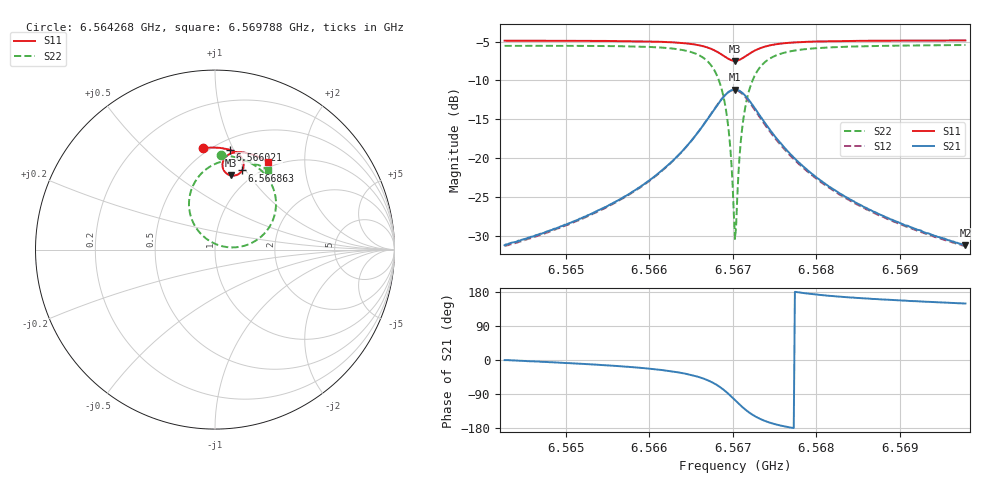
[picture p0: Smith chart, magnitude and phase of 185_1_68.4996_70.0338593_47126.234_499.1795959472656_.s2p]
#  HZ  S  RI  R  50.00
! Rohde & Schwarz Vector Network Analyzer
! Rohde-Schwarz,ZNB20-2Port,1311601062101988,3.16
! Created: UTC 3/20/2024, 4:56:52 PM
! freq[Hz]  re:S11  im:S11  re:S21  im:S21  re:S12  im:S12  re:S22  im:S22
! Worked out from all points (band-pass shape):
!   401 points, 6.564268 GHz to 6.569788 GHz, reference 50 ohm
!   highest |S21| = -11.17 dB at 6.567028 GHz (marker M1); lowest = -31.2 dB at 6.569788 GHz (marker M2)
!   |S21| within 3 dB of the highest: 6.566752 GHz to 6.567303 GHz (551.7 kHz wide, 0.0084 % of centre)
!   lowest |S11| = -7.5 dB at 6.567028 GHz (marker M3), VSWR 2.46, Z = 40.9 + j41.2 ohm
!   |S11| at or under -10 dB: nowhere
!   |S22| runs from -30.4 to -5.5 dB; largest |S21 - S12| = 0.013
!   S11 on the Smith chart (normalised r, x): 6.564268 GHz: 0.46, +0.77; 6.566021 GHz: 0.59, +0.97; 6.566863 GHz: 0.86, +0.96; 6.569788 GHz: 0.92, +1.33
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6.5642683e9  -0.0694 0.565  0.0276 -0.000147  0.0272 -0.000567  0.0309 0.5261
6.5651929e9  0.00616 0.568  0.0406 -0.00726  0.0398 -0.00783  0.1178 0.5137
6.5660208e9  0.0827 0.5559  0.0673 -0.029  0.0662 -0.0298  0.2233 0.4678
6.5661174e9  0.0928 0.5524  0.0725 -0.0348  0.0714 -0.0356  0.2397 0.456
6.566421e9  0.1275 0.5335  0.0934 -0.0667  0.0919 -0.068  0.2985 0.3928
6.5666418e9  0.1528 0.5027  0.107 -0.1205  0.1045 -0.1228  0.3377 0.2889
6.566766e9  0.1597 0.4717  0.0996 -0.1745  0.0952 -0.1775  0.33 0.1859
6.5668626e9  0.1509 0.4408  0.067 -0.2277  0.0594 -0.2307  0.2717 0.086
6.5669454e9  0.1258 0.4176  0.00689 -0.2649  -0.00389 -0.2647  0.1615 0.0207
6.566973e9  0.1137 0.4135  -0.0193 -0.2704  -0.0309 -0.2686  0.1139 0.0126
6.5670144e9  0.0941 0.4122  -0.0612 -0.269  -0.073 -0.2642  0.0393 0.0189
6.5670282e9  0.0875 0.4132  -0.0753 -0.2659  -0.0866 -0.26  0.0151 0.0262
6.567042e9  0.0811 0.4151  -0.0887 -0.2612  -0.0996 -0.2543  -0.00799 0.0361
6.5670558e9  0.0749 0.4176  -0.1017 -0.2553  -0.112 -0.2475  -0.03 0.0481
6.5670972e9  0.0591 0.4289  -0.1351 -0.2311  -0.1434 -0.2213  -0.0852 0.0948
6.5671386e9  0.0481 0.4439  -0.1591 -0.2011  -0.1645 -0.19  -0.1219 0.1509
6.5671938e9  0.0419 0.4652  -0.1758 -0.1587  -0.1776 -0.1478  -0.1434 0.2269
6.5672628e9  0.044 0.4889  -0.1782 -0.1121  -0.1772 -0.1028  -0.1389 0.3082
6.5675112e9  0.0825 0.5328  -0.1348 -0.0251  -0.1318 -0.021  -0.0407 0.4538
6.5679528e9  0.1431 0.5429  -0.0786 0.0084  -0.0767 0.00962  0.0883 0.4991
6.5688773e9  0.2284 0.5216  -0.0381 0.0147  -0.0372 0.0151  0.2182 0.4806
6.5697881e9  0.2953 0.489  -0.0236 0.0141  -0.0231 0.0143  0.2969 0.4436
